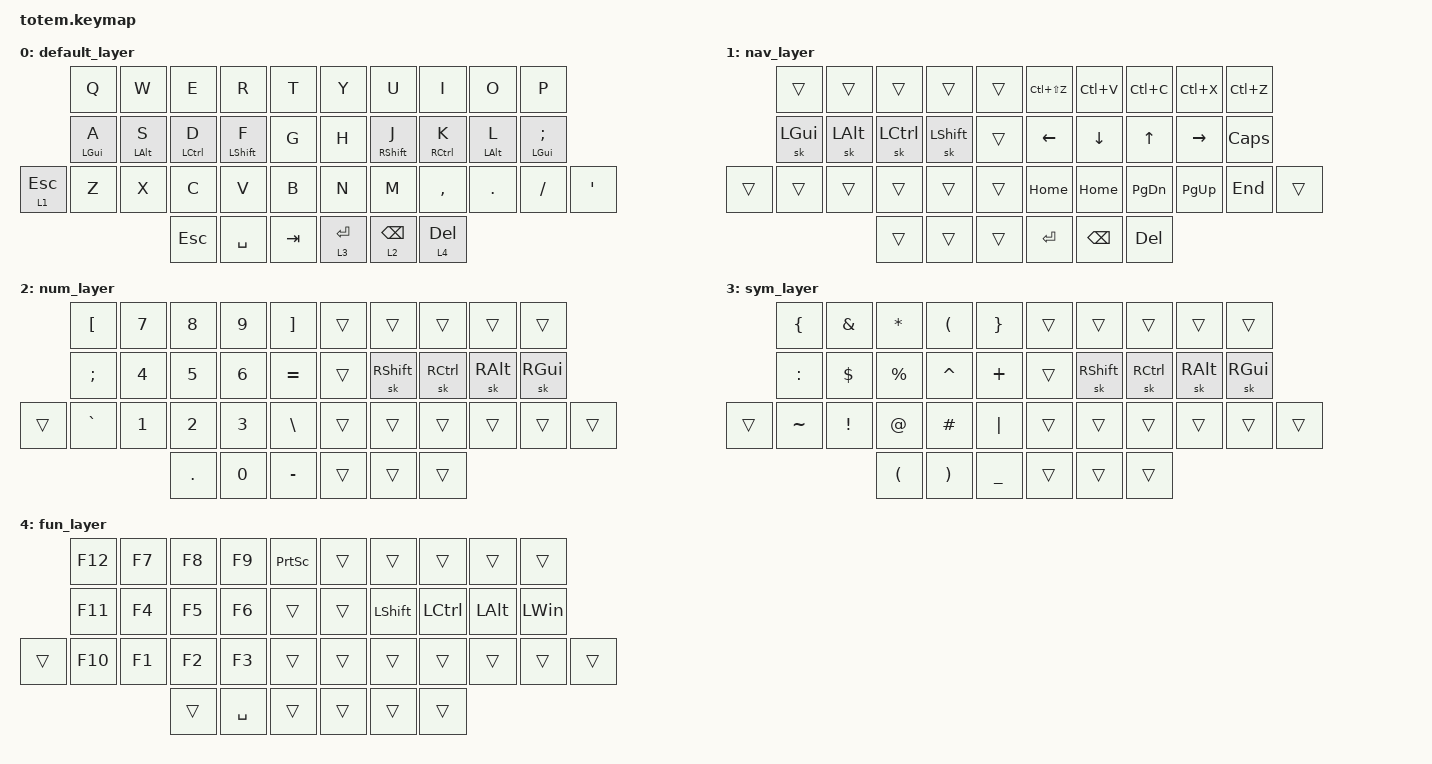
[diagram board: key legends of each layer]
//
//                                                        ▀▀▀▀▀     ▀▀▀▀▀          ▀▀█▀▀
//                                                        ▄▀▀▀▄  ▄  ▄▀▀▀▄  ▄  ▄▀▀▀▄  █  ▄▀▀▀▄
//                                                        █   █  █  █   █  █  █   █  █  █   █
//                                                         ▀▀▀   █   ▀▀▀   █   ▀▀▀   ▀   ▀▀▀
//                                                               █      ▄▄▄█▄▄▄    █   █  
//                                                               ▀      █  █  █     █▄█
//                                                             ▀▀▀▀▀    █  █  █      ▀
//                                                                      ▀  ▀  ▀
//
// ▄▄▄▄▄▄▄▄▄▄▄▄▄▄▄▄▄▄▄▄▄▄▄▄▄▄▄▄▄▄▄▄▄▄▄▄▄▄▄▄▄▄▄▄▄▄▄▄▄▄▄▄▄▄▄▄▄▄▄▄▄▄▄▄▄▄▄▄▄▄▄▄▄▄▄▄▄▄▄▄▄▄▄▄▄▄▄▄▄▄▄▄▄▄▄▄▄▄▄▄▄▄▄▄▄▄▄▄▄▄▄▄▄▄▄▄▄▄▄▄▄▄▄▄▄▄▄▄▄▄▄▄▄▄▄▄▄▄▄▄▄▄▄▄▄▄▄▄▄

#include <behaviors.dtsi>
#include <dt-bindings/zmk/keys.h>

#include "zmk-helpers/helper.h"
#include "zmk-helpers/key-labels/totem.h"

#define ___ &trans

#define BASE 0
#define NAV 1
#define NUM 2
#define SYM 3
#define FUN 4

#define KEYS_L LT0 LT1 LT2 LT3 LT4 LM0 LM1 LM2 LM3 LM4 LB0 LB1 LB2 LB3 LB4 LB5 // left hand
#define KEYS_R RT0 RT1 RT2 RT3 RT4 RM0 RM1 RM2 RM3 RM4 RB0 RB1 RB2 RB3 RB4 RB5 // right hand
#define THUMBS LH2 LH1 LH0 RH0 RH1 RH2  

ZMK_HOLD_TAP(hml,
    flavor = "balanced";
    tapping-term-ms = <280>;
    require-prior-idle-ms = <150>;
    hold-trigger-key-positions = <KEYS_R THUMBS>;
    hold-trigger-on-release;
    bindings = <&kp>, <&kp>;
)



ZMK_HOLD_TAP(hmr,
    flavor = "balanced";
    tapping-term-ms = <280>;
    require-prior-idle-ms = <150>;
    hold-trigger-key-positions = <KEYS_L THUMBS>;
    hold-trigger-on-release;
    bindings = <&kp>, <&kp>;
)

ZMK_LAYER(default_layer,
                         &kp Q  &kp W        &kp E         &kp R         &kp T      &kp Y      &kp U            &kp I         &kp O    &kp P
                &hml LGUI A  &hml LALT S  &hml LCTRL D  &hml LSHFT F  &kp G      &kp H      &hmr RSHFT J     &hmr RCTRL K  &hmr LALT L    &hmr LGUI SEMI
&lt 1 ESC  &kp Z  &kp X        &kp C         &kp V         &kp B      &kp N      &kp M            &kp COMMA     &kp DOT  &kp SLASH  &kp APOS
                                             &kp ESC     &kp SPACE   &kp TAB    &lt 3 ENTER  &lt 2 BACKSPACE  &lt 4 DEL
)

ZMK_LAYER(nav_layer,
        &trans    &trans    &trans     &trans     &trans    &kp LC(LS(Z))  &kp LC(V)    &kp LC(C)     &kp LC(X)  &kp LC(Z)
        &sk LGUI  &sk LALT  &sk LCTRL  &sk LSHFT  &trans    &kp LEFT    &kp DOWN       &kp UP         &kp RIGHT  &kp CAPSLOCK
&trans  &trans    &trans    &trans     &trans     &trans    &kp HOME    &kp HOME       &kp PAGE_DOWN  &kp PAGE_UP    &kp END       &trans
                            &trans     &trans     &trans    &kp ENTER   &kp BACKSPACE  &kp DELETE

)

ZMK_LAYER(num_layer,
        &kp LBKT   &kp N7  &kp N8   &kp N9  &kp RBKT     &trans  &trans     &trans     &trans    &trans
        &kp SEMI   &kp N4  &kp N5   &kp N6  &kp EQUAL    &trans  &sk RSHFT  &sk RCTRL  &sk RALT  &sk RGUI
&trans  &kp GRAVE  &kp N1  &kp N2   &kp N3  &kp BSLH     &trans  &trans     &trans     &trans    &trans    &trans
                           &kp DOT  &kp N0  &kp MINUS    &trans  &trans     &trans
)

ZMK_LAYER(sym_layer,
        &kp LBRC   &kp AMPS  &kp ASTRK  &kp LPAR   &kp RBRC     &trans  &trans     &trans     &trans    &trans
        &kp COLON  &kp DLLR  &kp PRCNT  &kp CARET  &kp PLUS     &trans  &sk RSHFT  &sk RCTRL  &sk RALT  &sk RGUI
&trans  &kp TILDE  &kp EXCL  &kp AT     &kp HASH   &kp PIPE     &trans  &trans     &trans     &trans    &trans    &trans
                             &kp LPAR   &kp RPAR   &kp UNDER    &trans  &trans     &trans
)

ZMK_LAYER(fun_layer,
        &kp F12  &kp F7  &kp F8  &kp F9     &kp PRINTSCREEN    &trans  &trans          &trans            &trans        &trans
        &kp F11  &kp F4  &kp F5  &kp F6     &trans             &trans  &kp LEFT_SHIFT  &kp LEFT_CONTROL  &kp LEFT_ALT  &kp LEFT_WIN
&trans  &kp F10  &kp F1  &kp F2  &kp F3     &trans             &trans  &trans          &trans            &trans        &trans        &trans
                         &trans  &kp SPACE  &trans             &trans  &trans          &trans
)
